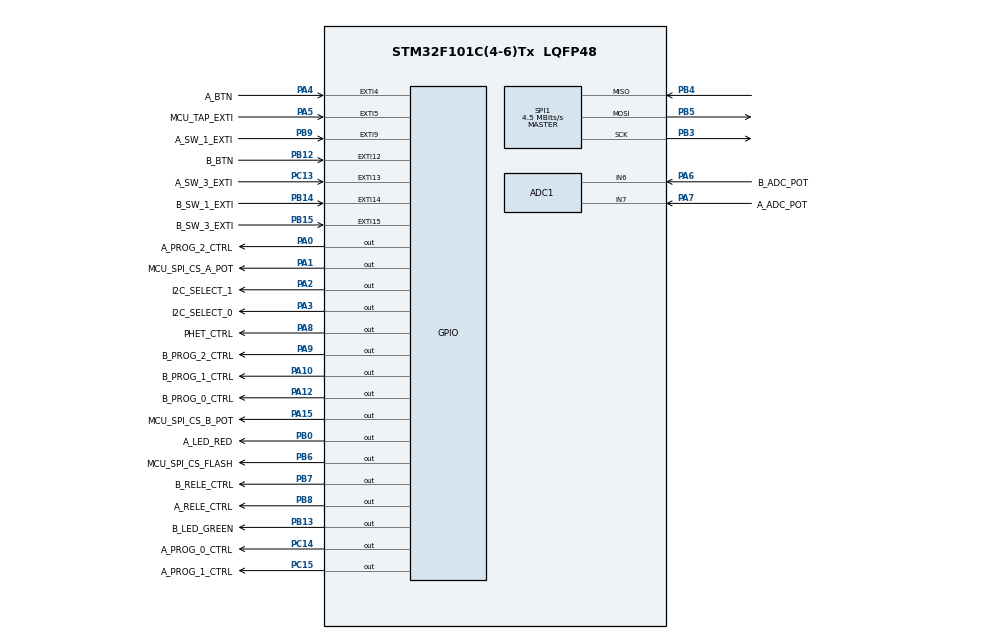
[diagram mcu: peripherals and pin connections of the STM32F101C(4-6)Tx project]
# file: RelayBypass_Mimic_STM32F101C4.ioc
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ADC1.Channel-0\#ChannelRegularConversion=ADC_CHANNEL_6
ADC1.Channel-2\#ChannelRegularConversion=ADC_CHANNEL_7
ADC1.EnableAnalogWatchDog=false
ADC1.NbrOfConversion=2
ADC1.NbrOfConversionFlag=1
ADC1.Rank-0\#ChannelRegularConversion=1
ADC1.Rank-2\#ChannelRegularConversion=2
ADC1.SamplingTime-0\#ChannelRegularConversion=ADC_SAMPLETIME_13CYCLES_5
ADC1.SamplingTime-2\#ChannelRegularConversion=ADC_SAMPLETIME_13CYCLES_5
ADC1.master=1
Dma.ADC1.0.Direction=DMA_PERIPH_TO_MEMORY
Dma.ADC1.0.Instance=DMA1_Channel1
Dma.ADC1.0.MemDataAlignment=DMA_MDATAALIGN_HALFWORD
Dma.ADC1.0.MemInc=DMA_MINC_ENABLE
Dma.ADC1.0.Mode=DMA_NORMAL
Dma.ADC1.0.PeriphDataAlignment=DMA_PDATAALIGN_HALFWORD
Dma.ADC1.0.PeriphInc=DMA_PINC_DISABLE
Dma.ADC1.0.Priority=DMA_PRIORITY_LOW
Dma.Request0=ADC1
Mcu.Family=STM32F1
Mcu.Name=STM32F101C(4-6)Tx
Mcu.Package=LQFP48
NVIC.DMA1_Channel1_IRQn=true\:0\:0\:false\:false\:true\:false\:true\:true
NVIC.EXTI15_10_IRQn=true\:1\:0\:true\:false\:true\:true\:true\:true
NVIC.EXTI4_IRQn=true\:1\:0\:true\:false\:true\:true\:true\:true
NVIC.EXTI9_5_IRQn=true\:1\:0\:true\:false\:true\:true\:true\:true
NVIC.PriorityGroup=NVIC_PRIORITYGROUP_4
NVIC.TIM2_IRQn=true\:0\:0\:false\:false\:true\:true\:true\:true
NVIC.TIM3_IRQn=true\:0\:0\:false\:false\:true\:true\:true\:true
PA0-WKUP.GPIO_Label=A_PROG_2_CTRL
PA0-WKUP.Signal=GPIO_Output
PA1.GPIO_Label=MCU_SPI_CS_A_POT
PA1.GPIO_ModeDefaultOutputPP=GPIO_MODE_OUTPUT_OD
PA1.GPIO_PuPd=GPIO_NOPULL
PA1.PinState=GPIO_PIN_SET
PA1.Signal=GPIO_Output
PA10.GPIO_Label=B_PROG_1_CTRL
PA10.Signal=GPIO_Output
PA12.GPIO_Label=B_PROG_0_CTRL
PA12.Signal=GPIO_Output
PA13.Mode=Serial_Wire
PA13.Signal=SYS_JTMS-SWDIO
PA14.Mode=Serial_Wire
PA14.Signal=SYS_JTCK-SWCLK
PA15.GPIO_Label=MCU_SPI_CS_B_POT
PA15.GPIO_ModeDefaultOutputPP=GPIO_MODE_OUTPUT_OD
PA15.GPIO_PuPd=GPIO_NOPULL
PA15.PinState=GPIO_PIN_SET
PA15.Signal=GPIO_Output
PA2.GPIO_Label=I2C_SELECT_1
PA2.Signal=GPIO_Output
PA3.GPIO_Label=I2C_SELECT_0
PA3.Signal=GPIO_Output
PA4.GPIO_Label=A_BTN
PA4.Signal=GPXTI4
PA5.GPIO_Label=MCU_TAP_EXTI
PA5.Signal=GPXTI5
PA6.GPIO_Label=B_ADC_POT
PA6.Signal=ADCx_IN6
PA7.GPIO_Label=A_ADC_POT
PA7.Signal=ADCx_IN7
PA8.GPIO_Label=PHET_CTRL
PA8.Signal=GPIO_Output
PA9.GPIO_Label=B_PROG_2_CTRL
PA9.Signal=GPIO_Output
PB0.GPIO_Label=A_LED_RED
PB0.Signal=GPIO_Output
PB12.GPIO_Label=B_BTN
PB12.Signal=GPXTI12
PB13.GPIO_Label=B_LED_GREEN
PB13.Signal=GPIO_Output
PB14.GPIO_Label=B_SW_1_EXTI
PB14.Signal=GPXTI14
PB15.GPIO_Label=B_SW_3_EXTI
PB15.Signal=GPXTI15
PB3.Mode=Full_Duplex_Master
PB3.Signal=SPI1_SCK
PB4.Mode=Full_Duplex_Master
PB4.Signal=SPI1_MISO
PB5.Mode=Full_Duplex_Master
PB5.Signal=SPI1_MOSI
PB6.GPIO_Label=MCU_SPI_CS_FLASH
PB6.GPIO_ModeDefaultOutputPP=GPIO_MODE_OUTPUT_OD
PB6.GPIO_PuPd=GPIO_NOPULL
PB6.PinState=GPIO_PIN_SET
PB6.Signal=GPIO_Output
PB7.GPIO_Label=B_RELE_CTRL
PB7.Signal=GPIO_Output
PB8.GPIO_Label=A_RELE_CTRL
PB8.Signal=GPIO_Output
PB9.GPIO_Label=A_SW_1_EXTI
PB9.Signal=GPXTI9
PC13-TAMPER-RTC.GPIO_Label=A_SW_3_EXTI
PC13-TAMPER-RTC.Signal=GPXTI13
PC14-OSC32_IN.GPIO_Label=A_PROG_0_CTRL
PC14-OSC32_IN.Signal=GPIO_Output
PC15-OSC32_OUT.GPIO_Label=A_PROG_1_CTRL
PC15-OSC32_OUT.Signal=GPIO_Output
PD0-OSC_IN.Mode=HSE-External-Oscillator
PD0-OSC_IN.Signal=RCC_OSC_IN
PD1-OSC_OUT.Mode=HSE-External-Oscillator
PD1-OSC_OUT.Signal=RCC_OSC_OUT
ProjectManager.HeapSize=0x200
ProjectManager.StackSize=0x400
ProjectManager.TargetToolchain=STM32CubeIDE
RCC.ADCPresc=RCC_ADCPCLK2_DIV4
RCC.AHBFreq_Value=36000000
RCC.APB1Freq_Value=36000000
RCC.APB1TimFreq_Value=36000000
RCC.APB2Freq_Value=36000000
RCC.HCLKFreq_Value=36000000
RCC.HSEDivPLL=RCC_HSE_PREDIV_DIV2
RCC.PLLMUL=RCC_PLL_MUL9
RCC.PLLSourceVirtual=RCC_PLLSOURCE_HSE
RCC.SYSCLKFreq_VALUE=36000000
RCC.SYSCLKSource=RCC_SYSCLKSOURCE_PLLCLK
SH.ADCx_IN6.0=ADC1_IN6,IN6
SH.ADCx_IN7.0=ADC1_IN7,IN7
SPI1.BaudRatePrescaler=SPI_BAUDRATEPRESCALER_8
SPI1.CLKPhase=SPI_PHASE_1EDGE
SPI1.CLKPolarity=SPI_POLARITY_LOW
SPI1.CalculateBaudRate=4.5 MBits/s
SPI1.Direction=SPI_DIRECTION_2LINES
SPI1.Mode=SPI_MODE_MASTER
SPI1.VirtualType=VM_MASTER
TIM2.AutoReloadPreload=TIM_AUTORELOAD_PRELOAD_ENABLE
TIM2.Period=50
TIM2.Prescaler=35999
TIM3.Period=1000
TIM3.Prescaler=35999
VP_TIM2_VS_ClockSourceINT.Mode=Internal
VP_TIM3_VS_ClockSourceINT.Mode=Internal
board=custom

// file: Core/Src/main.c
/* USER CODE BEGIN Header */
/**
  ******************************************************************************
  * @file           : main.c
  * @brief          : Main program body
  ******************************************************************************
  * @attention
  *
  * <h2><center>&copy; Copyright (c) 2022 STMicroelectronics.
  * All rights reserved.</center></h2>
  *
  * This software component is licensed by ST under BSD 3-Clause license,
  * the "License"; You may not use this file except in compliance with the
  * License. You may obtain a copy of the License at:
  *                        opensource.org/licenses/BSD-3-Clause
  *
  ******************************************************************************
  */
/* USER CODE END Header */
#include "main.h"
#include "adc.h"
#include "dma.h"
#include "spi.h"
#include "tim.h"
#include "gpio.h"

/* USER CODE BEGIN Includes */
#include "../../../../SharedLibs/RelayBypass/Include/Executor.h"
#include "../../../../SharedLibs/EepromM95/Include/EepromM95.h"
/* USER CODE END Includes */

/* USER CODE BEGIN PTD */
extern uint8_t RxBuffer[32];
extern uint8_t EEPROM_StatusByte;
/* USER CODE END PTD */

void SystemClock_Config(void);

int main(void)
{

  /* MCU Configuration--------------------------------------------------------*/

  /* Reset of all peripherals, Initializes the Flash interface and the Systick. */
  HAL_Init();

  /* Configure the system clock */
  SystemClock_Config();

  /* Initialize all configured peripherals */
  MX_GPIO_Init();
  MX_DMA_Init();
  MX_ADC1_Init();
  MX_SPI1_Init();
  MX_TIM2_Init();
  MX_TIM3_Init();
  /* USER CODE BEGIN 2 */
  Status status = OK;

  Executor *pExecutor = Executor_Create();

  if(pExecutor == NULL)
  {
      Error_Handler();
  }

  /* Reload values & Config platform */
  GPIO_PinState btnA = HAL_GPIO_ReadPin(A_BTN_GPIO_Port, A_BTN_Pin);
  GPIO_PinState btnB = HAL_GPIO_ReadPin(B_BTN_GPIO_Port, B_BTN_Pin);
  StateStruct localCmdBlock = {0};

  /* 1. Switch I2C EEPROM based on pressed A button, B EEPROM selected by default */
  if (!btnA && btnB)
  {
      localCmdBlock.state = EXECUTOR_STATE_SWITCH_I2C_EEPROM;
      localCmdBlock.channel = CHANNEL_A;
      status = Executor_PushCommand(pExecutor, &localCmdBlock);
  }

  /* 2. Load saved data from SPI flash */
  uint8_t initData[EEPROM_PAGESIZE] = {0};
  EEPROM_SPI_INIT(&hspi1);

  // Reset EEPROM
  if (!btnA && !btnB)
  {
        EEPROM_SPI_WriteBuffer((uint8_t*)gTimeA, (uint16_t)EEPROM_A_PROGS_ADDR,   (uint16_t)sizeof(gTimeA));
        EEPROM_SPI_WriteBuffer((uint8_t*)gTimeB, (uint16_t)EEPROM_B_PROGS_ADDR,   (uint16_t)sizeof(gTimeB));
        EEPROM_SPI_WriteBuffer(initData,         (uint16_t)EEPROM_INIT_DATA_ADDR, (uint16_t)sizeof(initData));
  }
  // Load from EEPROM
  else
  {
      EEPROM_SPI_ReadBuffer((uint8_t*)gTimeA, (uint16_t)EEPROM_A_PROGS_ADDR,   (uint16_t)sizeof(gTimeA));
      EEPROM_SPI_ReadBuffer((uint8_t*)gTimeB, (uint16_t)EEPROM_B_PROGS_ADDR,   (uint16_t)sizeof(gTimeB));
      EEPROM_SPI_ReadBuffer(initData,         (uint16_t)EEPROM_INIT_DATA_ADDR, (uint16_t)sizeof(initData));
      gFxStateA = initData[EEPROM_A_FX_STATE_BYTE];
      gFxStateB = initData[EEPROM_B_FX_STATE_BYTE];
      gProgramA = initData[EEPROM_A_FX_PROG_BYTE];
      gProgramB = initData[EEPROM_B_FX_PROG_BYTE];

      if (initData[EEPROM_TAP_POINTER])
      {
          gTapPointer = &gTapStampB;
      }
      else
      {
          gTapPointer = &gTapStampA;
      }
  }

  /* 3. Switch TapPointer */
  if (btnA && !btnB)
  {
      //gTapPointer = &gTapStampB;
      gTapPointer = (gTapPointer == &gTapStampA) ? &gTapStampB : &gTapStampA;
  }

  // 4. Set parameters
  localCmdBlock.state = EXECUTOR_STATE_SWITCH_CHANNEL;
  localCmdBlock.channel = CHANNEL_A;
  localCmdBlock.specificator = 0;
  localCmdBlock.number = gFxStateA;
  status = Executor_PushCommand(pExecutor, &localCmdBlock);

  localCmdBlock.state = EXECUTOR_STATE_SWITCH_CHANNEL;
  localCmdBlock.channel = CHANNEL_B;
  localCmdBlock.specificator = 0;
  localCmdBlock.number = gFxStateB;
  status = Executor_PushCommand(pExecutor, &localCmdBlock);

  localCmdBlock.state = EXECUTOR_STATE_SWITCH_PROGRAM;
  localCmdBlock.channel = CHANNEL_A;
  localCmdBlock.specificator = 0;
  localCmdBlock.number = 0;
  status = Executor_PushCommand(pExecutor, &localCmdBlock);

  localCmdBlock.state = EXECUTOR_STATE_SWITCH_PROGRAM;
  localCmdBlock.channel = CHANNEL_B;
  localCmdBlock.specificator = 0;
  localCmdBlock.number = 0;
  status = Executor_PushCommand(pExecutor, &localCmdBlock);

  /*ADC-DMA test*/
  HAL_ADC_Start_DMA(&hadc1, (uint32_t*)adcData, 2);

  /* USER CODE END 2 */

  /* Infinite loop */
  /* USER CODE BEGIN WHILE */
  while (1)
  {
      status = Executor_Handler(pExecutor);

      if (status == INVALID_PARAMETERS)
      {
          Error_Handler();
      }
    /* USER CODE END WHILE */

  }
}

void SystemClock_Config(void)
{
  LL_FLASH_SetLatency(LL_FLASH_LATENCY_1);
  while(LL_FLASH_GetLatency()!= LL_FLASH_LATENCY_1)
  {
  }
  LL_RCC_HSE_Enable();

   /* Wait till HSE is ready */
  while(LL_RCC_HSE_IsReady() != 1)
  {

  }
  LL_RCC_PLL_ConfigDomain_SYS(LL_RCC_PLLSOURCE_HSE_DIV_2, LL_RCC_PLL_MUL_9);
  LL_RCC_PLL_Enable();

   /* Wait till PLL is ready */
  while(LL_RCC_PLL_IsReady() != 1)
  {

  }
  LL_RCC_SetAHBPrescaler(LL_RCC_SYSCLK_DIV_1);
  LL_RCC_SetAPB1Prescaler(LL_RCC_APB1_DIV_1);
  LL_RCC_SetAPB2Prescaler(LL_RCC_APB2_DIV_1);
  LL_RCC_SetSysClkSource(LL_RCC_SYS_CLKSOURCE_PLL);

   /* Wait till System clock is ready */
  while(LL_RCC_GetSysClkSource() != LL_RCC_SYS_CLKSOURCE_STATUS_PLL)
  {

  }
  LL_SetSystemCoreClock(36000000);

   /* Update the time base */
  if (HAL_InitTick (TICK_INT_PRIORITY) != HAL_OK)
  {
    Error_Handler();
  }
  LL_RCC_SetADCClockSource(LL_RCC_ADC_CLKSRC_PCLK2_DIV_4);
}

void Error_Handler(void)
{
  /* USER CODE BEGIN Error_Handler_Debug */
  /* User can add his own implementation to report the HAL error return state */
  __disable_irq();
  NVIC_SystemReset();
  while (1)
  {
  }
  /* USER CODE END Error_Handler_Debug */
}

/************************ (C) COPYRIGHT STMicroelectronics *****END OF FILE****/
